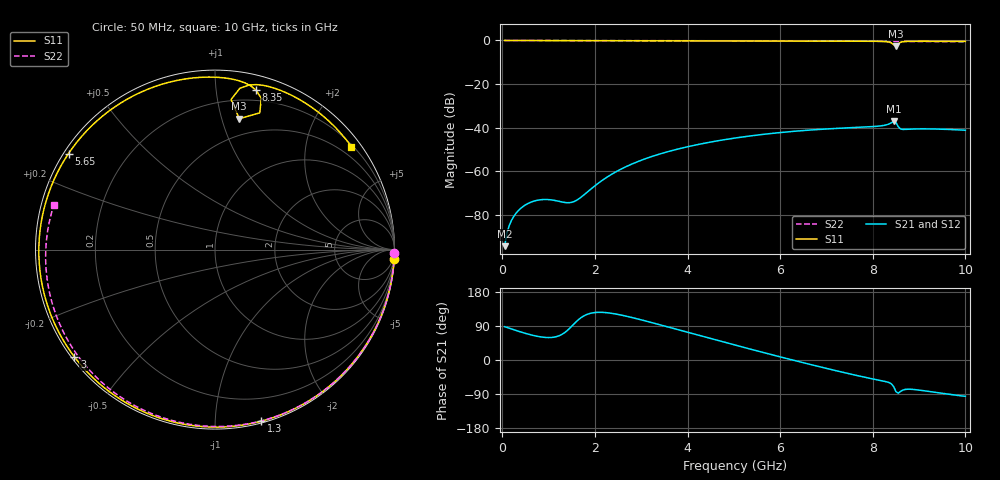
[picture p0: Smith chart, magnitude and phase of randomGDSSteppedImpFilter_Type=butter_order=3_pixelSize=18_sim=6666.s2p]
! freq	dB(S11)	phase(S11)	dB(S12)	phase(S12)
!  dB(S21)	phase(S21)	dB(S22)	phase(S22)
!S-par simulation data
#  GHz  S  DB  R 50
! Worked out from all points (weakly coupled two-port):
!   200 points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, 50 MHz to 10 GHz, reference 50 ohm
!   highest |S21| = -37.17 dB at 8.45 GHz (marker M1); lowest = -94.4 dB at 50 MHz (marker M2)
!   lowest |S11| = -2.6 dB at 8.5 GHz (marker M3), VSWR 6.75, Z = 17.6 + j57 ohm
!   |S11| at or under -10 dB: nowhere
!   |S22| runs from -0.6 to 0.0 dB; largest |S21 - S12| = 0
!   S11 on the Smith chart (normalised r, x): 50 MHz: 0, -36; 1.3 GHz: 0.01, -1.31; 3 GHz: 0.01, -0.34; 5.65 GHz: 0.01, +0.30; 8.35 GHz: 0.11, +1.28; 10 GHz: 0.24, +2.96
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0.05  -0.00 -3.1  -94.40 87.9  -94.40 87.9  -0.00 -1.1
0.25  -0.02 -15.6  -80.67 79.8  -80.67 79.8  -0.01 -5.6
0.5  -0.04 -30.7  -75.46 70.3  -75.46 70.3  -0.02 -11.1
0.75  -0.06 -45.4  -73.36 62.6  -73.36 62.6  -0.02 -16.6
1.3  -0.08 -74.9  -74.16 68.5  -74.16 68.5  -0.04 -28.6
1.5  -0.09 -84.6  -74.27 89.2  -74.27 89.2  -0.04 -32.9
1.75  -0.10 -96.1  -71.09 115.6  -71.09 115.6  -0.05 -38.3
2.35  -0.12 -120.3  -61.55 123.4  -61.55 123.4  -0.07 -50.9
3  -0.13 -142.7  -54.97 106.0  -54.97 106.0  -0.08 -64.3
3.4  -0.14 -154.9  -52.11 93.0  -52.11 93.0  -0.10 -72.3
4.2  -0.16 -177.1  -47.86 66.5  -47.86 66.5  -0.12 -87.9
5.05  -0.19 161.3  -44.70 38.6  -44.70 38.6  -0.16 -103.9
5.65  -0.21 146.7  -43.05 19.3  -43.05 19.3  -0.19 -114.9
6.7  -0.26 121.3  -41.03 -13.3  -41.03 -13.3  -0.26 -133.7
7.7  -0.32 96.1  -39.86 -42.1  -39.86 -42.1  -0.34 -151.7
8.35  -0.75 75.5  -38.34 -59.5  -38.34 -59.5  -0.41 -163.5
8.45  -1.92 71.9  -37.17 -70.1  -37.17 -70.1  -0.42 -165.4
8.5  -2.59 79.5  -37.61 -83.3  -37.61 -83.3  -0.43 -166.3
8.55  -1.50 83.9  -39.59 -87.5  -39.59 -87.5  -0.43 -167.3
8.6  -0.83 81.2  -40.61 -82.9  -40.61 -82.9  -0.44 -168.2
8.75  -0.42 73.9  -40.76 -77.1  -40.76 -77.1  -0.46 -171.0
10  -0.42 37.1  -41.20 -95.8  -41.20 -95.8  -0.62 164.4
